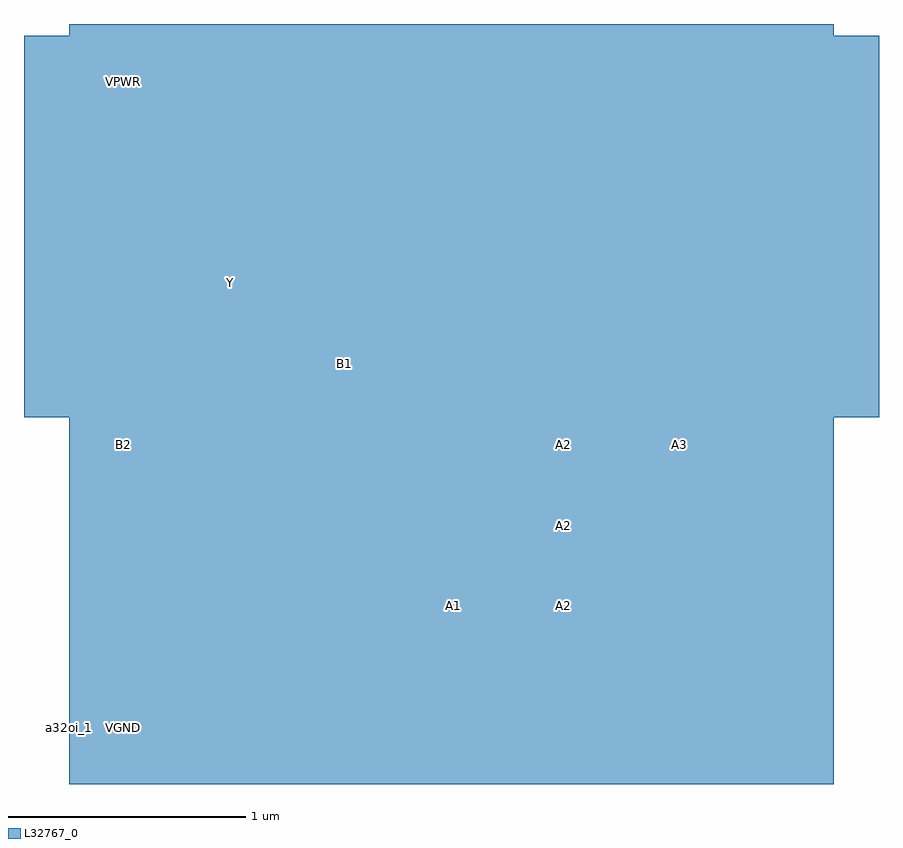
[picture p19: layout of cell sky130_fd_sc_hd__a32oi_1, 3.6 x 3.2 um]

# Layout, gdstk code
import gdstk
lib = gdstk.Library(unit=1e-6, precision=1e-09)
def R(c, l, rs):  # rectangles x0, y0, x1, y1
    for r in rs: c.add(gdstk.rectangle(r[:2], r[2:], *l))
def A(c, l, x, y, w, h, nx, ny, dx, dy):  # array of equal rectangles
    R(c, l, [(x+i*dx, y+j*dy, x+i*dx+w, y+j*dy+h) for i in range(nx) for j in range(ny)])
def P(c, l, *ps):  # polygons
    for p in ps: c.add(gdstk.Polygon(p, *l))
L32767_0 = (32767, 0)

sky130_fd_sc_hd__a32oi_1 = lib.new_cell('sky130_fd_sc_hd__a32oi_1')
A(sky130_fd_sc_hd__a32oi_1, L32767_0, 0.145, -0.085, 0.17, 0.17, 7, 2, 0.46, 2.72)
A(sky130_fd_sc_hd__a32oi_1, L32767_0, 1.995, 0.425, 0.17, 0.17, 1, 3, 0, 0.34)
A(sky130_fd_sc_hd__a32oi_1, L32767_0, 0.855, 1.075, 0.17, 0.17, 3, 1, 0.48, 0)
A(sky130_fd_sc_hd__a32oi_1, L32767_0, 2.445, 1.575, 0.17, 0.17, 1, 3, 0, 0.34)
A(sky130_fd_sc_hd__a32oi_1, L32767_0, 1.175, 2.215, 0.17, 0.17, 3, 1, 0.42, 0)
R(sky130_fd_sc_hd__a32oi_1, L32767_0, [(0,-0.19,3.22,1.015), (0.145,-0.085,0.315,0.085), (0.145,-0.085,0.315,0.085), (0,0,3.22,2.72), (0,0,3.22,2.72), (0.135,0.235,2.655,0.885), (0.175,0.295,0.345,0.465), (2.445,0.295,2.615,0.465), (1.535,0.425,1.705,0.595), (0.995,0.445,1.165,0.615), (2.445,0.635,2.615,0.805), (0,0.975,3.22,1.35), (0.085,0.995,0.345,1.325), (2.335,1.015,2.75,1.325), (0.155,1.075,0.325,1.245), (2.425,1.075,2.595,1.245), (0.145,1.105,0.315,1.275), (2.465,1.105,2.635,1.275), (0,1.25,2.76,2.72), (2.76,1.25,3.22,2.72), (-0.19,1.305,3.41,2.91), (0,1.36,3.22,2.91), (1.075,1.445,1.245,1.615), (0.135,1.485,2.655,2.485), (0.595,1.785,0.765,1.955), (1.175,1.785,1.345,1.955), (2.015,1.825,2.185,1.995), (0.175,1.915,0.345,2.085), (0.595,1.915,0.765,2.085), (0.175,2.255,0.345,2.425), (0.145,2.635,0.315,2.805), (0.145,2.635,0.315,2.805)])
P(sky130_fd_sc_hd__a32oi_1, L32767_0, [(0.545,2.615),(0.395,2.615),(0.395,1.325),(0.105,1.325),(0.105,0.995),(0.395,0.995),(0.395,0.105),(0.545,0.105)],
  [(1.075,1.325),(0.965,1.325),(0.965,2.615),(0.815,2.615),(0.815,1.325),(0.755,1.325),(0.755,0.995),(0.775,0.995),(0.775,0.105),(0.925,0.105),(0.925,0.995),(1.075,0.995)],
  [(2.685,1.41),(2.395,1.41),(2.395,2.615),(2.245,2.615),(2.245,0.105),(2.395,0.105),(2.395,0.96),(2.685,0.96)],
  [(2.035,1.41),(1.965,1.41),(1.965,2.615),(1.815,2.615),(1.815,1.41),(1.765,1.41),(1.765,0.105),(1.915,0.105),(1.915,0.96),(2.035,0.96)],
  [(1.555,1.325),(1.545,1.325),(1.545,2.615),(1.395,2.615),(1.395,1.325),(1.285,1.325),(1.285,0.995),(1.395,0.995),(1.395,0.105),(1.545,0.105),(1.545,0.995),(1.555,0.995)],
  [(1.165,0.805),(0.685,0.805),(0.685,1.785),(0.865,1.785),(0.865,2.085),(0.515,2.085),(0.515,0.635),(0.915,0.635),(0.915,0.295),(1.165,0.295)],
  [(3.22,0.085),(2.695,0.085),(2.695,0.805),(2.355,0.805),(2.355,0.085),(0.425,0.085),(0.425,0.465),(0.095,0.465),(0.095,0.085),(0,0.085),(0,-0.085),(3.22,-0.085)],
  [(3.22,2.805),(0,2.805),(0,2.635),(1.555,2.635),(1.555,2.135),(1.805,2.135),(1.805,2.635),(2.355,2.635),(2.355,1.495),(2.695,1.495),(2.695,2.635),(3.22,2.635)],
  [(2.185,2.465),(2.015,2.465),(2.015,1.955),(1.345,1.955),(1.345,2.465),(0.085,2.465),(0.085,1.835),(0.345,1.835),(0.345,2.255),(1.095,2.255),(1.095,1.785),(2.015,1.785),(2.015,1.745),(2.185,1.745)],
  [(1.255,1.615),(0.855,1.615),(0.855,0.995),(1.025,0.995),(1.025,1.425),(1.255,1.425)],
  [(2.165,1.325),(1.805,1.325),(1.805,0.995),(1.965,0.995),(1.965,0.415),(2.165,0.415)],
  [(1.705,0.765),(1.595,0.765),(1.595,1.255),(1.23,1.255),(1.23,1.075),(1.405,1.075),(1.405,0.345),(1.705,0.345)])
sky130_fd_sc_hd__a32oi_1.add(gdstk.FlexPath([(0,2.72),(3.22,2.72)], 0.48, ends="flush", simple_path=True, layer=32767, datatype=0))  # L32767_0
sky130_fd_sc_hd__a32oi_1.add(gdstk.FlexPath([(0,0),(3.22,0)], 0.48, ends="flush", simple_path=True, layer=32767, datatype=0))  # L32767_0
sky130_fd_sc_hd__a32oi_1.add(gdstk.Label('A2', (2.08,0.51), layer=32767, texttype=5))
sky130_fd_sc_hd__a32oi_1.add(gdstk.Label('Y', (0.68,1.87), layer=32767, texttype=5))
sky130_fd_sc_hd__a32oi_1.add(gdstk.Label('A1', (1.62,0.51), layer=32767, texttype=5))
sky130_fd_sc_hd__a32oi_1.add(gdstk.Label('B2', (0.23,1.19), layer=32767, texttype=5))
sky130_fd_sc_hd__a32oi_1.add(gdstk.Label('B1', (1.16,1.53), layer=32767, texttype=5))
sky130_fd_sc_hd__a32oi_1.add(gdstk.Label('A2', (2.08,0.85), layer=32767, texttype=5))
sky130_fd_sc_hd__a32oi_1.add(gdstk.Label('A2', (2.08,1.19), layer=32767, texttype=5))
sky130_fd_sc_hd__a32oi_1.add(gdstk.Label('A3', (2.57,1.19), layer=32767, texttype=5))
sky130_fd_sc_hd__a32oi_1.add(gdstk.Label('VGND', (0.23,0), layer=32767, texttype=5))
sky130_fd_sc_hd__a32oi_1.add(gdstk.Label('VPWR', (0.23,2.72), layer=32767, texttype=5))
sky130_fd_sc_hd__a32oi_1.add(gdstk.Label('VPB', (0.23,2.72), layer=32767, texttype=5))
sky130_fd_sc_hd__a32oi_1.add(gdstk.Label('VNB', (0.23,0), layer=32767, texttype=59))
sky130_fd_sc_hd__a32oi_1.add(gdstk.Label('a32oi_1', (0,0), layer=32767, texttype=44))

lib.write_gds('sky130_fd_sc_hd__a32oi_1.gds')
